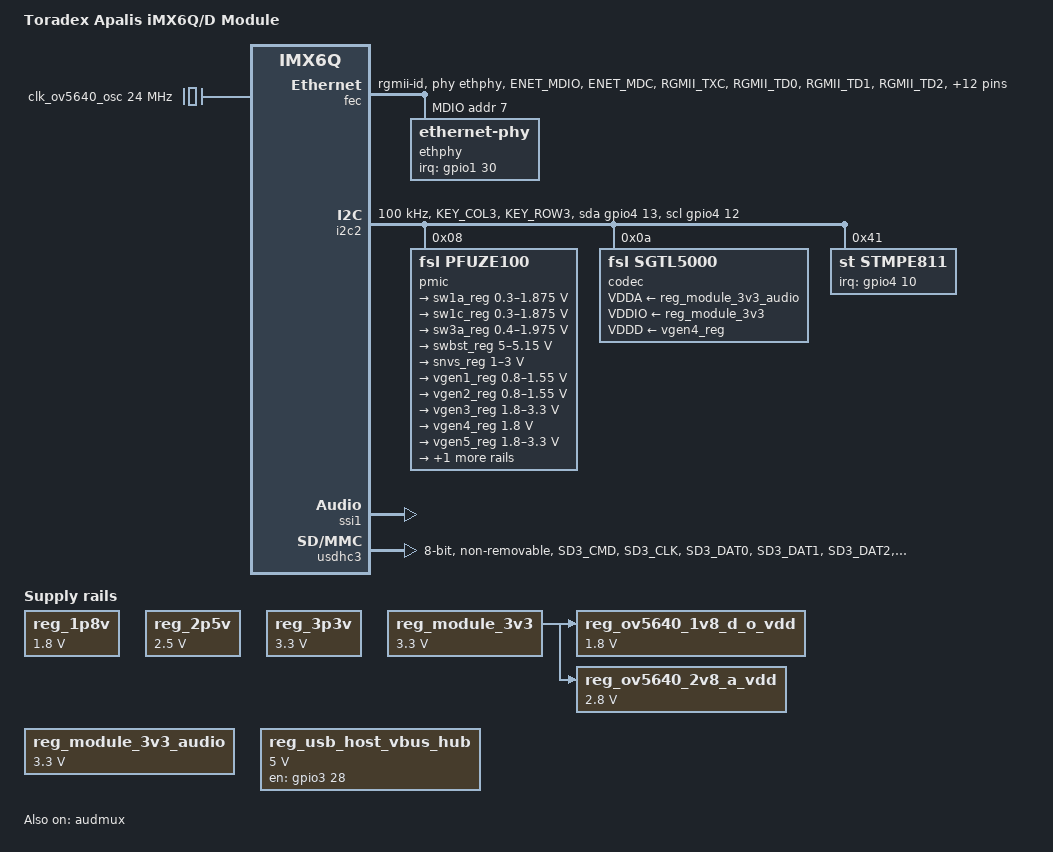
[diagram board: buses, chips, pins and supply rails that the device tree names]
/*
 * Copyright 2014-2017 Toradex AG
 * Copyright 2012 Freescale Semiconductor, Inc.
 * Copyright 2011 Linaro Ltd.
 *
 * This file is dual-licensed: you can use it either under the terms
 * of the GPL or the X11 license, at your option. Note that this dual
 * licensing only applies to this file, and not this project as a
 * whole.
 *
 *  a) This file is free software; you can redistribute it and/or
 *     modify it under the terms of the GNU General Public License
 *     version 2 as published by the Free Software Foundation.
 *
 *     This file is distributed in the hope that it will be useful,
 *     but WITHOUT ANY WARRANTY; without even the implied warranty of
 *     MERCHANTABILITY or FITNESS FOR A PARTICULAR PURPOSE.  See the
 *     GNU General Public License for more details.
 *
 * Or, alternatively,
 *
 *  b) Permission is hereby granted, free of charge, to any person
 *     obtaining a copy of this software and associated documentation
 *     files (the "Software"), to deal in the Software without
 *     restriction, including without limitation the rights to use,
 *     copy, modify, merge, publish, distribute, sublicense, and/or
 *     sell copies of the Software, and to permit persons to whom the
 *     Software is furnished to do so, subject to the following
 *     conditions:
 *
 *     The above copyright notice and this permission notice shall be
 *     included in all copies or substantial portions of the Software.
 *
 *     THE SOFTWARE IS PROVIDED "AS IS", WITHOUT WARRANTY OF ANY KIND,
 *     EXPRESS OR IMPLIED, INCLUDING BUT NOT LIMITED TO THE WARRANTIES
 *     OF MERCHANTABILITY, FITNESS FOR A PARTICULAR PURPOSE AND
 *     NONINFRINGEMENT. IN NO EVENT SHALL THE AUTHORS OR COPYRIGHT
 *     HOLDERS BE LIABLE FOR ANY CLAIM, DAMAGES OR OTHER LIABILITY,
 *     WHETHER IN AN ACTION OF CONTRACT, TORT OR OTHERWISE, ARISING
 *     FROM, OUT OF OR IN CONNECTION WITH THE SOFTWARE OR THE USE OR
 *     OTHER DEALINGS IN THE SOFTWARE.
 */

#include <dt-bindings/gpio/gpio.h>

/ {
	model = "Toradex Apalis iMX6Q/D Module";
	compatible = "toradex,apalis_imx6q", "fsl,imx6q";
	/* Will be filled by the bootloader */
	memory@10000000 {
		device_type = "memory";
		reg = <0x10000000 0>;
	};

	aliases {
		mxcfb0 = &mxcfb1;
		mxcfb1 = &mxcfb2;
		mxcfb2 = &mxcfb3;
		mxcfb3 = &mxcfb4;
	};

	backlight: backlight {
		compatible = "pwm-backlight";
		pinctrl-names = "default";
		pinctrl-0 = <&pinctrl_gpio_bl_on>;
		brightness-levels = <0 45 63 88 119 158 203 255>;
		default-brightness-level = <4>;
		enable-gpios = <&gpio3 13 GPIO_ACTIVE_HIGH>;
		power-supply = <&reg_module_3v3>;
		pwms = <&pwm4 0 6666667 PWM_POLARITY_INVERTED>;
		status = "disabled";
	};

	clk_ov5640_osc: clk_ov5640_osc_int {
		compatible = "fixed-clock";
		#clock-cells = <0>;
		clock-frequency = <24000000>;
	};

	/*
	 * HDMI_TX_DDC: I2C2_DDC_SDA/SCL on MXM3 205/207
	 */
	i2cddc: i2c@0 {
		compatible = "i2c-gpio";
		pinctrl-names = "default";
		pinctrl-0 = <&pinctrl_i2c_ddc>;
		gpios = <
			 &gpio3 16 (GPIO_ACTIVE_HIGH|GPIO_OPEN_DRAIN) /* sda */
			 &gpio2 30 (GPIO_ACTIVE_HIGH|GPIO_OPEN_DRAIN) /* scl */
			>;
		i2c-gpio,delay-us = <2>;	/* ~100 kHz */
		#address-cells = <1>;
		#size-cells = <0>;
		status = "disabled";

		hdmi_ddc: edid@50 {
			compatible = "fsl,imx6-hdmi-i2c";
			reg = <0x50>;
			status = "disabled";
		};
	};

	lcd: lcd@0 {
		compatible = "fsl,lcd";
		ipu_id = <0>;
		disp_id = <1>;
		default_ifmt = "RGB24";
		pinctrl-names = "default";
		pinctrl-0 = <&pinctrl_ipu1_lcdif>;
		status = "disabled";
	};

	mxcfb1: fb@0 {
		compatible = "fsl,mxc_sdc_fb";
		disp_dev = "ldb";
		interface_pix_fmt = "RGB666";
		default_bpp = <16>;
		int_clk = <0>;
		late_init = <0>;
		status = "disabled";
	};

	mxcfb2: fb@1 {
		compatible = "fsl,mxc_sdc_fb";
		disp_dev = "hdmi";
		interface_pix_fmt = "RGB24";
		mode_str ="1920x1080M@60";
		default_bpp = <16>;
		int_clk = <0>;
		late_init = <0>;
		status = "disabled";
	};

	mxcfb3: fb@2 {
		compatible = "fsl,mxc_sdc_fb";
		disp_dev = "lcd";
		interface_pix_fmt = "RGB24";
		mode_str ="CLAA-WVGA";
		default_bpp = <16>;
		int_clk = <0>;
		late_init = <0>;
		status = "disabled";
	};

	mxcfb4: fb@3 {
		compatible = "fsl,mxc_sdc_fb";
		disp_dev = "vdac";
		interface_pix_fmt = "RGB565";
		mode_str ="1024x768M@60";
		default_bpp = <16>;
		int_clk = <0>;
		late_init = <0>;
		status = "disabled";
	};

	reg_1p8v: regulator-1p8v {
		compatible = "regulator-fixed";
		regulator-name = "1P8V";
		regulator-min-microvolt = <1800000>;
		regulator-max-microvolt = <1800000>;
		regulator-always-on;
	};

	reg_2p5v: regulator-2p5v {
		compatible = "regulator-fixed";
		regulator-name = "2P5V";
		regulator-min-microvolt = <2500000>;
		regulator-max-microvolt = <2500000>;
		regulator-always-on;
	};

	reg_3p3v: regulator-3p3v {
		compatible = "regulator-fixed";
		regulator-name = "3P3V";
		regulator-min-microvolt = <3300000>;
		regulator-max-microvolt = <3300000>;
		regulator-always-on;
	};

	reg_module_3v3: regulator-module-3v3 {
		compatible = "regulator-fixed";
		regulator-name = "+V3.3";
		regulator-min-microvolt = <3300000>;
		regulator-max-microvolt = <3300000>;
		regulator-always-on;
	};

	reg_module_3v3_audio: regulator-module-3v3-audio {
		compatible = "regulator-fixed";
		regulator-name = "+V3.3_AUDIO";
		regulator-min-microvolt = <3300000>;
		regulator-max-microvolt = <3300000>;
		regulator-always-on;
	};

	reg_ov5640_1v8_d_o_vdd: regulator-ov5640-1v8-d-o-vdd {
		compatible = "regulator-fixed";
		regulator-name = "DOVDD/DVDD_1.8V";
		regulator-min-microvolt = <1800000>;
		regulator-max-microvolt = <1800000>;
		regulator-always-on;
		/* Note: The CSI module uses on-board 3.3V_SW supply */
		vin-supply = <&reg_module_3v3>;
	};

	reg_ov5640_2v8_a_vdd: regulator-ov5640-2v8-a-vdd {
		compatible = "regulator-fixed";
		regulator-name = "AVDD/AFVDD_2.8V";
		regulator-min-microvolt = <2800000>;
		regulator-max-microvolt = <2800000>;
		regulator-always-on;
		/* Note: The CSI module uses on-board 3.3V_SW supply */
		vin-supply = <&reg_module_3v3>;
	};

	reg_usb_otg_vbus: regulator-usb-otg-vbus {
		compatible = "regulator-fixed";
		pinctrl-names = "default";
		pinctrl-0 = <&pinctrl_regulator_usbotg_pwr>;
		regulator-name = "usb_otg_vbus";
		regulator-min-microvolt = <5000000>;
		regulator-max-microvolt = <5000000>;
		gpio = <&gpio3 22 GPIO_ACTIVE_HIGH>;
		enable-active-high;
		status = "disabled";
	};

	/* on module USB hub */
	reg_usb_host_vbus_hub: regulator-usb-host-vbus-hub {
		compatible = "regulator-fixed";
		pinctrl-names = "default";
		pinctrl-0 = <&pinctrl_regulator_usbhub_pwr>;
		regulator-name = "usb_host_vbus_hub";
		regulator-min-microvolt = <5000000>;
		regulator-max-microvolt = <5000000>;
		gpio = <&gpio3 28 GPIO_ACTIVE_HIGH>;
		startup-delay-us = <2000>;
		enable-active-high;
		status = "okay";
	};

	reg_usb_host_vbus: regulator-usb-host-vbus {
		compatible = "regulator-fixed";
		pinctrl-names = "default";
		pinctrl-0 = <&pinctrl_regulator_usbh_pwr>;
		regulator-name = "usb_host_vbus";
		regulator-min-microvolt = <5000000>;
		regulator-max-microvolt = <5000000>;
		gpio =  <&gpio1 0 GPIO_ACTIVE_HIGH>;
		enable-active-high;
		vin-supply = <&reg_usb_host_vbus_hub>;
		status = "disabled";
	};

	sound {
		compatible = "fsl,imx-audio-sgtl5000";
		model = "imx6q-apalis-sgtl5000";
		ssi-controller = <&ssi1>;
		audio-codec = <&codec>;
		audio-routing =
			"LINE_IN", "Line In Jack",
			"MIC_IN", "Mic Jack",
			"Mic Jack", "Mic Bias",
			"Headphone Jack", "HP_OUT";
		mux-int-port = <1>;
		mux-ext-port = <4>;
	};

	sound_hdmi: sound-hdmi {
		compatible = "fsl,imx6q-audio-hdmi",
			     "fsl,imx-audio-hdmi";
		model = "imx-audio-hdmi";
		hdmi-controller = <&hdmi_audio>;
		status = "disabled";
	};

	sound_spdif: sound-spdif {
		compatible = "fsl,imx-audio-spdif";
		model = "imx-spdif";
		spdif-controller = <&spdif>;
		spdif-in;
		spdif-out;
		status = "disabled";
	};

	v4l2_cap_0 {
		compatible = "fsl,imx6q-v4l2-capture";
		ipu_id = <0>;
		csi_id = <0>;
		mclk_source = <0>;
		status = "okay";
	};

	v4l2_cap_1 { // second parallel camera
		compatible = "fsl,imx6q-v4l2-capture";
		ipu_id = <1>;
		csi_id = <1>;
		mclk_source = <0>;
		status = "okay";
	};

	v4l2_cap_2 { // mipi-csi2 camera
		compatible = "fsl,imx6q-v4l2-capture";
		ipu_id = <0>;
		csi_id = <1>;
		mclk_source = <0>;
		status = "okay";
	};

	v4l2_out {
		compatible = "fsl,mxc_v4l2_output";
		status = "okay";
	};

	vdac: vdac@0 {
		compatible = "fsl,vdac";
		ipu_id = <1>;
		disp_id = <0>;
		default_ifmt = "RGB565";
		pinctrl-names = "default";
		pinctrl-0 = <&pinctrl_ipu2_vdac>;
		status = "disabled";
	};
};

&audmux {
	pinctrl-names = "default";
	pinctrl-0 = <&pinctrl_audmux>;
	status = "okay";
};

&can1 {
	pinctrl-names = "default", "sleep";
	pinctrl-0 = <&pinctrl_flexcan1_default>;
	pinctrl-1 = <&pinctrl_flexcan1_sleep>;
	status = "disabled";
};

&can2 {
	pinctrl-names = "default", "sleep";
	pinctrl-0 = <&pinctrl_flexcan2_default>;
	pinctrl-1 = <&pinctrl_flexcan2_sleep>;
	status = "disabled";
};

/* Apalis SPI1 */
&ecspi1 {
	cs-gpios = <&gpio5 25 GPIO_ACTIVE_HIGH>;
	pinctrl-names = "default";
	pinctrl-0 = <&pinctrl_ecspi1>;
	status = "disabled";
};

/* Apalis SPI2 */
&ecspi2 {
	cs-gpios = <&gpio2 26 GPIO_ACTIVE_HIGH>;
	pinctrl-names = "default";
	pinctrl-0 = <&pinctrl_ecspi2>;
	status = "disabled";
};

&gpio1 {
	gpio-line-names = "MXM3_84",
			  "MXM3_4",
			  "MXM3_15/GPIO7",
			  "MXM3_96",
			  "MXM3_37",
			  "",
			  "MXM3_17/GPIO8",
			  "MXM3_14",
			  "MXM3_12",
			  "MXM3_2",
			  "MXM3_184",
			  "MXM3_180",
			  "MXM3_178",
			  "MXM3_176",
			  "MXM3_188",
			  "MXM3_186",
			  "MXM3_160",
			  "MXM3_162",
			  "MXM3_150",
			  "MXM3_144",
			  "MXM3_154",
			  "MXM3_146",
			  "",
			  "",
			  "MXM3_72";
};

&gpio2 {
	gpio-line-names = "MXM3_148",
			  "MXM3_152",
			  "MXM3_156",
			  "MXM3_158",
			  "MXM3_1/GPIO1",
			  "MXM3_3/GPIO2",
			  "MXM3_5/GPIO3",
			  "MXM3_7/GPIO4",
			  "MXM3_95",
			  "MXM3_6",
			  "MXM3_8",
			  "MXM3_123",
			  "MXM3_126",
			  "MXM3_128",
			  "MXM3_130",
			  "MXM3_132",
			  "MXM3_253",
			  "MXM3_251",
			  "MXM3_283",
			  "MXM3_281",
			  "MXM3_279",
			  "MXM3_277",
			  "MXM3_243",
			  "MXM3_235",
			  "MXM3_231",
			  "MXM3_229",
			  "MXM3_233",
			  "MXM3_198",
			  "MXM3_275",
			  "MXM3_273",
			  "MXM3_207",
			  "MXM3_122";
};

&gpio3 {
	gpio-line-names = "MXM3_271",
			  "MXM3_269",
			  "MXM3_301",
			  "MXM3_299",
			  "MXM3_297",
			  "MXM3_295",
			  "MXM3_293",
			  "MXM3_291",
			  "MXM3_289",
			  "MXM3_287",
			  "MXM3_249",
			  "MXM3_247",
			  "MXM3_245",
			  "MXM3_286",
			  "MXM3_239",
			  "MXM3_35",
			  "MXM3_205",
			  "MXM3_203",
			  "MXM3_201",
			  "MXM3_116",
			  "MXM3_114",
			  "MXM3_262",
			  "MXM3_274",
			  "MXM3_124",
			  "MXM3_110",
			  "MXM3_120",
			  "MXM3_263",
			  "MXM3_265",
			  "",
			  "MXM3_135",
			  "MXM3_261",
			  "MXM3_259";
};

&gpio4 {
	gpio-line-names = "",
			  "",
			  "",
			  "",
			  "",
			  "MXM3_194",
			  "MXM3_136",
			  "MXM3_134",
			  "MXM3_140",
			  "MXM3_138",
			  "",
			  "MXM3_220",
			  "",
			  "",
			  "MXM3_18",
			  "MXM3_16",
			  "",
			  "",
			  "MXM3_214",
			  "MXM3_216",
			  "MXM3_164";
};

&gpio5 {
	gpio-line-names = "MXM3_159",
			  "",
			  "",
			  "",
			  "MXM3_257",
			  "",
			  "",
			  "",
			  "",
			  "",
			  "MXM3_200",
			  "MXM3_196",
			  "MXM3_204",
			  "MXM3_202",
			  "",
			  "",
			  "",
			  "",
			  "MXM3_191",
			  "MXM3_197",
			  "MXM3_77",
			  "MXM3_195",
			  "MXM3_221",
			  "MXM3_225",
			  "MXM3_223",
			  "MXM3_227",
			  "MXM3_209",
			  "MXM3_211",
			  "MXM3_118",
			  "MXM3_112",
			  "MXM3_187",
			  "MXM3_185";
};

&gpio6 {
	gpio-line-names = "MXM3_183",
			  "MXM3_181",
			  "MXM3_179",
			  "MXM3_177",
			  "MXM3_175",
			  "MXM3_173",
			  "MXM3_255",
			  "MXM3_83",
			  "MXM3_91",
			  "MXM3_13/GPIO6",
			  "MXM3_11/GPIO5",
			  "MXM3_79",
			  "",
			  "",
			  "MXM3_190",
			  "MXM3_193",
			  "MXM3_89";
};

&gpio7 {
	gpio-line-names = "",
			  "",
			  "",
			  "",
			  "",
			  "",
			  "",
			  "",
			  "",
			  "MXM3_99",
			  "MXM3_85",
			  "MXM3_217",
			  "MXM3_215";
};

&fec {
	pinctrl-names = "default";
	pinctrl-0 = <&pinctrl_enet>;
	phy-mode = "rgmii-id";
	phy-handle = <&ethphy>;
	phy-reset-duration = <10>;
	phy-reset-gpios = <&gpio1 25 GPIO_ACTIVE_LOW>;
	status = "okay";

	mdio {
		#address-cells = <1>;
		#size-cells = <0>;

		ethphy: ethernet-phy@7 {
			interrupt-parent = <&gpio1>;
			interrupts = <30 IRQ_TYPE_LEVEL_LOW>;
			reg = <7>;
		};
	};
};

&hdmi_cec {
	pinctrl-names = "default";
	pinctrl-0 = <&pinctrl_hdmi_cec>;
	status = "disabled";
};

&hdmi_core {
	ipu_id = <0>;
	disp_id = <0>;
	status = "disabled";
};

&hdmi_video {
	fsl,phy_reg_vlev = <0x0294>;
	fsl,phy_reg_cksymtx = <0x800d>;
	status = "disabled";
};

/* I2C1_SDA/SCL on MXM3 209/211 (e.g. RTC on carrier board) */
&i2c1 {
	clock-frequency = <100000>;
	pinctrl-names = "default", "gpio";
	pinctrl-0 = <&pinctrl_i2c1>;
	pinctrl-1 = <&pinctrl_i2c1_recovery>;
	scl-gpios = <&gpio5 27 (GPIO_ACTIVE_HIGH | GPIO_OPEN_DRAIN)>;
	sda-gpios = <&gpio5 26 (GPIO_ACTIVE_HIGH | GPIO_OPEN_DRAIN)>;
	status = "disabled";

	atmel_mxt_ts: atmel_mxt_ts@4a {
		compatible = "atmel,maxtouch";
		reg = <0x4a>;
		pinctrl-names = "default";
		pinctrl-0 = <&pinctrl_apalis_gpio5 &pinctrl_apalis_gpio6>;
		interrupt-parent = <&gpio6>;
		interrupts = <10 IRQ_TYPE_EDGE_FALLING>;
		reset-gpios = <&gpio6 9 GPIO_ACTIVE_HIGH>;
		status = "disabled";
	};

	fusion_f0710a: pcap@10 {
		/* TouchRevolution Fusion 7 and 10 multi-touch controller */
		compatible = "touchrevolution,fusion-f0710a";
		reg = <0x10>;
		gpios = <&gpio6 10 GPIO_ACTIVE_HIGH /* MXM3 11, Pen down interrupt */
			 &gpio6  9 GPIO_ACTIVE_HIGH /* MXM3 13, Reset */
			>;
	};
};

/*
 * PWR_I2C: power I2C to audio codec, PMIC, temperature sensor and
 * touch screen controller
 */
&i2c2 {
	clock-frequency = <100000>;
	pinctrl-names = "default", "gpio";
	pinctrl-0 = <&pinctrl_i2c2>;
	pinctrl-1 = <&pinctrl_i2c2_recovery>;
	scl-gpios = <&gpio4 12 (GPIO_ACTIVE_HIGH | GPIO_OPEN_DRAIN)>;
	sda-gpios = <&gpio4 13 (GPIO_ACTIVE_HIGH | GPIO_OPEN_DRAIN)>;
	status = "okay";

	pmic: pfuze100@8 {
		compatible = "fsl,pfuze100";
		reg = <0x08>;
		fsl,pmic-stby-poweroff;

		regulators {
			sw1a_reg: sw1ab {
				regulator-min-microvolt = <300000>;
				regulator-max-microvolt = <1875000>;
				regulator-boot-on;
				regulator-always-on;
				regulator-ramp-delay = <6250>;
			};

			sw1c_reg: sw1c {
				regulator-min-microvolt = <300000>;
				regulator-max-microvolt = <1875000>;
				regulator-boot-on;
				regulator-always-on;
				regulator-ramp-delay = <6250>;
			};

			sw3a_reg: sw3a {
				regulator-min-microvolt = <400000>;
				regulator-max-microvolt = <1975000>;
				regulator-boot-on;
				regulator-always-on;
			};

			swbst_reg: swbst {
				regulator-min-microvolt = <5000000>;
				regulator-max-microvolt = <5150000>;
				regulator-boot-on;
				regulator-always-on;
			};

			snvs_reg: vsnvs {
				regulator-min-microvolt = <1000000>;
				regulator-max-microvolt = <3000000>;
				regulator-boot-on;
				regulator-always-on;
			};

			vref_reg: vrefddr {
				regulator-boot-on;
				regulator-always-on;
			};

			vgen1_reg: vgen1 {
				regulator-min-microvolt = <800000>;
				regulator-max-microvolt = <1550000>;
				regulator-boot-on;
				regulator-always-on;
			};

			vgen2_reg: vgen2 {
				regulator-min-microvolt = <800000>;
				regulator-max-microvolt = <1550000>;
				regulator-boot-on;
				regulator-always-on;
			};

			vgen3_reg: vgen3 {
				regulator-min-microvolt = <1800000>;
				regulator-max-microvolt = <3300000>;
				regulator-boot-on;
				regulator-always-on;
			};

			vgen4_reg: vgen4 {
				regulator-min-microvolt = <1800000>;
				regulator-max-microvolt = <1800000>;
				regulator-boot-on;
				regulator-always-on;
			};

			vgen5_reg: vgen5 {
				regulator-min-microvolt = <1800000>;
				regulator-max-microvolt = <3300000>;
				regulator-boot-on;
				regulator-always-on;
			};

			vgen6_reg: vgen6 {
				regulator-min-microvolt = <1800000>;
				regulator-max-microvolt = <3300000>;
				regulator-boot-on;
				regulator-always-on;
			};
		};
	};

	codec: sgtl5000@a {
		compatible = "fsl,sgtl5000";
		reg = <0x0a>;
		clocks = <&clks IMX6QDL_CLK_CKO>;
		VDDA-supply = <&reg_module_3v3_audio>;
		VDDIO-supply = <&reg_module_3v3>;
		VDDD-supply = <&vgen4_reg>;
	};

	/* STMPE811 touch screen controller */
	stmpe811@41 {
		compatible = "st,stmpe811";
		pinctrl-names = "default";
		pinctrl-0 = <&pinctrl_touch_int>;
		reg = <0x41>;
		interrupts = <10 IRQ_TYPE_LEVEL_LOW>;
		interrupt-parent = <&gpio4>;
		interrupt-controller;
		id = <0>;
		blocks = <0x5>;
		irq-trigger = <0x1>;
		/* 3.25 MHz ADC clock speed */
		st,adc-freq = <1>;
		/* 12-bit ADC */
		st,mod-12b = <1>;
		/* internal ADC reference */
		st,ref-sel = <0>;
		/* ADC converstion time: 80 clocks */
		st,sample-time = <4>;

		stmpe_ts: stmpe_touchscreen {
			compatible = "st,stmpe-ts";
			/* 8 sample average control */
			st,ave-ctrl = <3>;
			/* 7 length fractional part in z */
			st,fraction-z = <7>;
			/*
			 * 50 mA typical 80 mA max touchscreen drivers
			 * current limit value
			 */
			st,i-drive = <1>;
			/* 1 ms panel driver settling time */
			st,settling = <3>;
			/* 5 ms touch detect interrupt delay */
			st,touch-det-delay = <5>;
			status = "disabled";
		};

		stmpe_adc {
			compatible = "st,stmpe-adc";
			/* forbid to use ADC channels 3-0 (touch) */
			st,norequest-mask = <0x0F>;
		};
	};
};

/*
 * I2C3_SDA/SCL (CAM) on MXM3 pin 201/203 (e.g. camera sensor on carrier
 * board)
 */
&i2c3 {
	clock-frequency = <100000>;
	pinctrl-names = "default", "gpio";
	pinctrl-0 = <&pinctrl_i2c3>;
	pinctrl-1 = <&pinctrl_i2c3_recovery>;
	scl-gpios = <&gpio3 17 (GPIO_ACTIVE_HIGH | GPIO_OPEN_DRAIN)>;
	sda-gpios = <&gpio3 18 (GPIO_ACTIVE_HIGH | GPIO_OPEN_DRAIN)>;
	status = "disabled";

	ov5640_csi_cam: camera@3c {
		compatible = "ovti,ov564x_mipi";
		pinctrl-names = "default";
		pinctrl-0 = <&pinctrl_cam_mclk>;
		reg = <0x3c>;
		/*
		 * By default use the internal on-cam clock source
		 * (Compatible with Toradex OV5640 v1.1b and later)
		 */
		clocks = <&clk_ov5640_osc>;
		clock-names = "csi_mclk";
		DOVDD-supply = <&reg_ov5640_1v8_d_o_vdd>;
		AVDD-supply = <&reg_ov5640_2v8_a_vdd>;
		DVDD-supply = <&reg_ov5640_1v8_d_o_vdd>;
		pwn-gpios = <&gpio2 5 GPIO_ACTIVE_HIGH>;
		rst-gpios = <&gpio2 4 GPIO_ACTIVE_LOW>;
		ipu_id = <0>;
		csi_id = <1>;
		mclk = <24000000>;
		mclk_source = <0>;
		status = "disabled";
	};
};

&ldb {
//	split-mode;
//	dual-mode;

	lvds-channel@0 {
		reg = <0>;
		fsl,data-mapping = "spwg"; /* "jeida"; */
		fsl,data-width = <24>;
		crtc = "ipu2-di1";
		primary;

		display-timings {
			native-mode = <&timing_xga>;
			/* LDB-AM-800600LTNQW-A0H */
			timing_svga: 800x600 {
				clock-frequency = <55000000>;
				hactive = <800>;
				vactive = <600>;
				hback-porch = <112>;
				hfront-porch = <32>;
				vback-porch = <3>;
				vfront-porch = <17>;
				hsync-len = <80>;
				vsync-len = <4>;
				hsync-active = <0>;
				vsync-active = <0>;
				pixelclk-active = <0>;
			};
			/* Standard XGA timing */
			timing_xga: 1024x768 {
				clock-frequency = <65000000>;
				hactive = <1024>;
				vactive = <768>;
				hback-porch = <160>;
				hfront-porch = <24>;
				vback-porch = <29>;
				vfront-porch = <3>;
				hsync-len = <136>;
				vsync-len = <6>;
				hsync-active = <0>;
				vsync-active = <0>;
				pixelclk-active = <0>;
			};
			timing_wxga: 1280x800 {
				clock-frequency = <68930000>;
				hactive = <1280>;
				vactive = <800>;
				hback-porch = <64>;
				hfront-porch = <64>;
				vback-porch = <5>;
				vfront-porch = <5>;
				hsync-len = <40>;
				vsync-len = <6>;
				hsync-active = <0>;
				vsync-active = <0>;
				pixelclk-active = <0>;
			};
			/* LTTD1280800101-L4WH-CT1, note that it needs
			   fsl,data-mapping = "spwg"; fsl,data-width = <24>; */
			timing_wxga1: 1280x800-1 {
				clock-frequency = <71100000>;
				hactive = <1280>;
				vactive = <800>;
				hback-porch = <60>;
				hfront-porch = <60>;
				vback-porch = <7>;
				vfront-porch = <7>;
				hsync-len = <40>;
				vsync-len = <9>;
				hsync-active = <0>;
				vsync-active = <0>;
				pixelclk-active = <0>;
			};
			timing_fullhd: 1920x1080 {
				clock-frequency = <138500000>;
				hactive = <1920>;
				vactive = <1080>;
				hback-porch = <80>;
				hfront-porch = <48>;
				vback-porch = <23>;
				vfront-porch = <3>;
				hsync-len = <32>;
				vsync-len = <5>;
				hsync-active = <0>;
				vsync-active = <0>;
				pixelclk-active = <0>;
			};
		};
	};

	lvds-channel@1 {
		reg = <1>;
		fsl,data-mapping = "spwg";
		fsl,data-width = <18>;
		crtc = "ipu1-di0";

		display-timings {
/*			native-mode = <&timing_svga_ch2>;*/
			/* LDB-AM-800600LTNQW-A0H */
			timing_svga_ch2: 800x600 {
				clock-frequency = <55000000>;
				hactive = <800>;
				vactive = <600>;
				hback-porch = <112>;
				hfront-porch = <32>;
				vback-porch = <3>;
				vfront-porch = <17>;
				hsync-len = <80>;
				vsync-len = <4>;
				hsync-active = <0>;
				vsync-active = <0>;
				pixelclk-active = <0>;
			};
		};
	};
};

&mipi_csi {
	csi_id = <1>;
	ipu_id = <0>;
	lanes = <2>;
	v_channel = <0>;

	status = "disabled";
};

&pcie {
	/* Gen2 does not work on Apalis iMX6 */
	fsl,max-link-speed = <1>;
};

&pwm1 {
	#pwm-cells = <3>;
	pinctrl-names = "default";
	pinctrl-0 = <&pinctrl_pwm1>;
	status = "disabled";
};

&pwm2 {
	#pwm-cells = <3>;
	pinctrl-names = "default";
	pinctrl-0 = <&pinctrl_pwm2>;
	status = "disabled";
};

&pwm3 {
	#pwm-cells = <3>;
	pinctrl-names = "default";
	pinctrl-0 = <&pinctrl_pwm3>;
	status = "disabled";
};

&pwm4 {
	#pwm-cells = <3>;
	pinctrl-names = "default";
	pinctrl-0 = <&pinctrl_pwm4>;
	status = "disabled";
};

&spdif {
	pinctrl-names = "default";
	pinctrl-0 = <&pinctrl_spdif>;
	status = "disabled";
};

&ssi1 {
	status = "okay";
};

&uart1 {
	pinctrl-names = "default";
	pinctrl-0 = <&pinctrl_uart1_dte &pinctrl_uart1_ctrl>;
	fsl,dte-mode;
	uart-has-rtscts;
	status = "disabled";
};

&uart2 {
	pinctrl-names = "default";
	pinctrl-0 = <&pinctrl_uart2_dte>;
	fsl,dte-mode;
	uart-has-rtscts;
	status = "disabled";
};

&uart4 {
	pinctrl-names = "default";
	pinctrl-0 = <&pinctrl_uart4_dte>;
	fsl,dte-mode;
	status = "disabled";
};

&uart5 {
	pinctrl-names = "default";
	pinctrl-0 = <&pinctrl_uart5_dte>;
	fsl,dte-mode;
	status = "disabled";
};

&usbotg {
	pinctrl-names = "default";
	pinctrl-0 = <&pinctrl_usbotg>;
	disable-over-current;
	status = "disabled";
};

/* MMC1 */
&usdhc1 {
	pinctrl-names = "default";
	pinctrl-0 = <&pinctrl_usdhc1_4bit &pinctrl_usdhc1_8bit &pinctrl_mmc_cd>;
	cd-gpios = <&gpio4 20 GPIO_ACTIVE_LOW>;
	vqmmc-supply = <&reg_module_3v3>;
	bus-width = <8>;
	disable-wp;
	no-1-8-v;
	status = "disabled";
};

/* SD1 */
&usdhc2 {
	pinctrl-names = "default";
	pinctrl-0 = <&pinctrl_usdhc2>;
	vqmmc-supply = <&reg_module_3v3>;
	bus-width = <4>;
	disable-wp;
	no-1-8-v;
	status = "disabled";
};

/* eMMC */
&usdhc3 {
	pinctrl-names = "default";
	pinctrl-0 = <&pinctrl_usdhc3>;
	vqmmc-supply = <&reg_module_3v3>;
	bus-width = <8>;
	no-1-8-v;
	non-removable;
	status = "okay";
};

&weim {
	status = "disabled";
};

&iomuxc {
	pinctrl_apalis_gpio1: gpio2io04grp {
		fsl,pins = <
			MX6QDL_PAD_NANDF_D4__GPIO2_IO04 0x130b0
		>;
	};

	pinctrl_apalis_gpio2: gpio2io05grp {
		fsl,pins = <
			MX6QDL_PAD_NANDF_D5__GPIO2_IO05 0x130b0
		>;
	};

	pinctrl_apalis_gpio3: gpio2io06grp {
		fsl,pins = <
			MX6QDL_PAD_NANDF_D6__GPIO2_IO06 0x130b0
		>;
	};

	pinctrl_apalis_gpio4: gpio2io07grp {
		fsl,pins = <
			MX6QDL_PAD_NANDF_D7__GPIO2_IO07 0x130b0
		>;
	};

	pinctrl_apalis_gpio5: gpio6io10grp {
		fsl,pins = <
			MX6QDL_PAD_NANDF_RB0__GPIO6_IO10 0x130b0
		>;
	};

	pinctrl_apalis_gpio6: gpio6io09grp {
		fsl,pins = <
			MX6QDL_PAD_NANDF_WP_B__GPIO6_IO09 0x130b0
		>;
	};

	pinctrl_apalis_gpio7: gpio1io02grp {
		fsl,pins = <
			MX6QDL_PAD_GPIO_2__GPIO1_IO02 0x130b0
		>;
	};

	pinctrl_apalis_gpio8: gpio1io06grp {
		fsl,pins = <
			MX6QDL_PAD_GPIO_6__GPIO1_IO06 0x130b0
		>;
	};

	pinctrl_audmux: audmuxgrp {
		fsl,pins = <
			MX6QDL_PAD_DISP0_DAT20__AUD4_TXC	0x130b0
			MX6QDL_PAD_DISP0_DAT21__AUD4_TXD	0x130b0
			MX6QDL_PAD_DISP0_DAT22__AUD4_TXFS	0x130b0
			MX6QDL_PAD_DISP0_DAT23__AUD4_RXD	0x130b0
			/* SGTL5000 sys_mclk */
			MX6QDL_PAD_GPIO_5__CCM_CLKO1		0x130b0
		>;
	};

	pinctrl_cam_mclk: cammclkgrp {
		fsl,pins = <
			/* CAM sys_mclk */
			MX6QDL_PAD_NANDF_CS2__CCM_CLKO2 0x00b0
		>;
	};

	pinctrl_ecspi1: ecspi1grp {
		fsl,pins = <
			MX6QDL_PAD_CSI0_DAT6__ECSPI1_MISO 0x100b1
			MX6QDL_PAD_CSI0_DAT5__ECSPI1_MOSI 0x100b1
			MX6QDL_PAD_CSI0_DAT4__ECSPI1_SCLK 0x100b1
			/* SPI1 cs */
			MX6QDL_PAD_CSI0_DAT7__GPIO5_IO25 0x000b1
		>;
	};

	pinctrl_ecspi2: ecspi2grp {
		fsl,pins = <
			MX6QDL_PAD_EIM_OE__ECSPI2_MISO 0x100b1
			MX6QDL_PAD_EIM_CS1__ECSPI2_MOSI 0x100b1
			MX6QDL_PAD_EIM_CS0__ECSPI2_SCLK 0x100b1
			/* SPI2 cs */
			MX6QDL_PAD_EIM_RW__GPIO2_IO26 0x000b1
		>;
	};

	pinctrl_enet: enetgrp {
		fsl,pins = <
			MX6QDL_PAD_ENET_MDIO__ENET_MDIO		0x100b0
			MX6QDL_PAD_ENET_MDC__ENET_MDC		0x100b0
			MX6QDL_PAD_RGMII_TXC__RGMII_TXC		0x10030
			MX6QDL_PAD_RGMII_TD0__RGMII_TD0		0x10030
			MX6QDL_PAD_RGMII_TD1__RGMII_TD1		0x10030
			MX6QDL_PAD_RGMII_TD2__RGMII_TD2		0x10030
			MX6QDL_PAD_RGMII_TD3__RGMII_TD3		0x10030
			MX6QDL_PAD_RGMII_TX_CTL__RGMII_TX_CTL	0x10030
			MX6QDL_PAD_ENET_REF_CLK__ENET_TX_CLK	0x100b0
			MX6QDL_PAD_RGMII_RXC__RGMII_RXC		0x1b030
			MX6QDL_PAD_RGMII_RD0__RGMII_RD0		0x1b030
			MX6QDL_PAD_RGMII_RD1__RGMII_RD1		0x1b030
			MX6QDL_PAD_RGMII_RD2__RGMII_RD2		0x1b030
			MX6QDL_PAD_RGMII_RD3__RGMII_RD3		0x1b030
			MX6QDL_PAD_RGMII_RX_CTL__RGMII_RX_CTL	0x1b030
			/* Ethernet PHY reset */
			MX6QDL_PAD_ENET_CRS_DV__GPIO1_IO25	0x000b0
			/* Ethernet PHY interrupt */
			MX6QDL_PAD_ENET_TXD0__GPIO1_IO30	0x000b1
		>;
	};

	pinctrl_flexcan1_default: flexcan1defgrp {
		fsl,pins = <
			MX6QDL_PAD_GPIO_7__FLEXCAN1_TX 0x1b0b0
			MX6QDL_PAD_GPIO_8__FLEXCAN1_RX 0x1b0b0
		>;
	};

	pinctrl_flexcan1_sleep: flexcan1slpgrp {
		fsl,pins = <
			MX6QDL_PAD_GPIO_7__GPIO1_IO07 0x0
			MX6QDL_PAD_GPIO_8__GPIO1_IO08 0x0
		>;
	};

	pinctrl_flexcan2_default: flexcan2defgrp {
		fsl,pins = <
			MX6QDL_PAD_KEY_COL4__FLEXCAN2_TX 0x1b0b0
			MX6QDL_PAD_KEY_ROW4__FLEXCAN2_RX 0x1b0b0
		>;
	};
	pinctrl_flexcan2_sleep: flexcan2slpgrp {
		fsl,pins = <
			MX6QDL_PAD_KEY_COL4__GPIO4_IO14 0x0
			MX6QDL_PAD_KEY_ROW4__GPIO4_IO15 0x0
		>;
	};

	pinctrl_gpio_bl_on: gpioblon {
		fsl,pins = <
			MX6QDL_PAD_EIM_DA13__GPIO3_IO13 0x1b0b0
		>;
	};

	pinctrl_gpio_keys: gpio1io04grp {
		fsl,pins = <
			/* Power button */
			MX6QDL_PAD_GPIO_4__GPIO1_IO04 0x1b0b0
		>;
	};

	pinctrl_hdmi_cec: hdmicecgrp {
		fsl,pins = <
			MX6QDL_PAD_KEY_ROW2__HDMI_TX_CEC_LINE 0x1f8b0
		>;
	};

	pinctrl_i2c_ddc: gpioi2cddcgrp {
		fsl,pins = <
			/* DDC bitbang */
			MX6QDL_PAD_EIM_EB2__GPIO2_IO30 0x1b0b0
			MX6QDL_PAD_EIM_D16__GPIO3_IO16 0x1b0b0
		>;
	};

	pinctrl_hdmi_ddc: hdmiddcgrp {
		fsl,pins = <
			MX6QDL_PAD_EIM_EB2__HDMI_TX_DDC_SCL 0x4001b8b1
			MX6QDL_PAD_EIM_D16__HDMI_TX_DDC_SDA 0x4001b8b1
		>;
	};

	pinctrl_i2c1: i2c1grp {
		fsl,pins = <
			MX6QDL_PAD_CSI0_DAT9__I2C1_SCL 0x4001b8b1
			MX6QDL_PAD_CSI0_DAT8__I2C1_SDA 0x4001b8b1
		>;
	};

	pinctrl_i2c1_recovery: i2c1recoverygrp {
		fsl,pins = <
			MX6QDL_PAD_CSI0_DAT9__GPIO5_IO27 0x4001b8b1
			MX6QDL_PAD_CSI0_DAT8__GPIO5_IO26 0x4001b8b1
		>;
	};

	pinctrl_i2c2: i2c2grp {
		fsl,pins = <
			MX6QDL_PAD_KEY_COL3__I2C2_SCL 0x4001b8b1
			MX6QDL_PAD_KEY_ROW3__I2C2_SDA 0x4001b8b1
		>;
	};

	pinctrl_i2c2_recovery: i2c2recoverygrp {
		fsl,pins = <
			MX6QDL_PAD_KEY_COL3__GPIO4_IO12 0x4001b8b1
			MX6QDL_PAD_KEY_ROW3__GPIO4_IO13 0x4001b8b1
		>;
	};

	pinctrl_i2c3: i2c3grp {
		fsl,pins = <
			MX6QDL_PAD_EIM_D17__I2C3_SCL 0x4001b8b1
			MX6QDL_PAD_EIM_D18__I2C3_SDA 0x4001b8b1
		>;
	};

	pinctrl_i2c3_recovery: i2c3recoverygrp {
		fsl,pins = <
			MX6QDL_PAD_EIM_D17__GPIO3_IO17 0x4001b8b1
			MX6QDL_PAD_EIM_D18__GPIO3_IO18 0x4001b8b1
		>;
	};

	pinctrl_ipu1_csi0: ipu1csi0grp { /* parallel camera */
		fsl,pins = <
			MX6QDL_PAD_CSI0_DAT12__IPU1_CSI0_DATA12  0xb0b1
			MX6QDL_PAD_CSI0_DAT13__IPU1_CSI0_DATA13  0xb0b1
			MX6QDL_PAD_CSI0_DAT14__IPU1_CSI0_DATA14  0xb0b1
			MX6QDL_PAD_CSI0_DAT15__IPU1_CSI0_DATA15  0xb0b1
			MX6QDL_PAD_CSI0_DAT16__IPU1_CSI0_DATA16  0xb0b1
			MX6QDL_PAD_CSI0_DAT17__IPU1_CSI0_DATA17  0xb0b1
			MX6QDL_PAD_CSI0_DAT18__IPU1_CSI0_DATA18  0xb0b1
			MX6QDL_PAD_CSI0_DAT19__IPU1_CSI0_DATA19  0xb0b1
			MX6QDL_PAD_CSI0_PIXCLK__IPU1_CSI0_PIXCLK 0xb0b1
			MX6QDL_PAD_CSI0_MCLK__IPU1_CSI0_HSYNC    0xb0b1
			MX6QDL_PAD_CSI0_VSYNC__IPU1_CSI0_VSYNC   0xb0b1
		>;
	};

	pinctrl_ipu1_lcdif: ipu1lcdifgrp {
		fsl,pins = <
			MX6QDL_PAD_EIM_A16__IPU1_DI1_DISP_CLK	0x61
			/* DE */
			MX6QDL_PAD_EIM_DA10__IPU1_DI1_PIN15	0x61
			/* HSync */
			MX6QDL_PAD_EIM_DA11__IPU1_DI1_PIN02	0x61
			/* VSync */
			MX6QDL_PAD_EIM_DA12__IPU1_DI1_PIN03	0x61
			MX6QDL_PAD_EIM_DA9__IPU1_DISP1_DATA00	0x61
			MX6QDL_PAD_EIM_DA8__IPU1_DISP1_DATA01	0x61
			MX6QDL_PAD_EIM_DA7__IPU1_DISP1_DATA02	0x61
			MX6QDL_PAD_EIM_DA6__IPU1_DISP1_DATA03	0x61
			MX6QDL_PAD_EIM_DA5__IPU1_DISP1_DATA04	0x61
			MX6QDL_PAD_EIM_DA4__IPU1_DISP1_DATA05	0x61
			MX6QDL_PAD_EIM_DA3__IPU1_DISP1_DATA06	0x61
			MX6QDL_PAD_EIM_DA2__IPU1_DISP1_DATA07	0x61
			MX6QDL_PAD_EIM_DA1__IPU1_DISP1_DATA08	0x61
			MX6QDL_PAD_EIM_DA0__IPU1_DISP1_DATA09	0x61
			MX6QDL_PAD_EIM_EB1__IPU1_DISP1_DATA10	0x61
			MX6QDL_PAD_EIM_EB0__IPU1_DISP1_DATA11	0x61
			MX6QDL_PAD_EIM_A17__IPU1_DISP1_DATA12	0x61
			MX6QDL_PAD_EIM_A18__IPU1_DISP1_DATA13	0x61
			MX6QDL_PAD_EIM_A19__IPU1_DISP1_DATA14	0x61
			MX6QDL_PAD_EIM_A20__IPU1_DISP1_DATA15	0x61
			MX6QDL_PAD_EIM_A21__IPU1_DISP1_DATA16	0x61
			MX6QDL_PAD_EIM_A22__IPU1_DISP1_DATA17	0x61
			MX6QDL_PAD_EIM_A23__IPU1_DISP1_DATA18	0x61
			MX6QDL_PAD_EIM_A24__IPU1_DISP1_DATA19	0x61
			MX6QDL_PAD_EIM_D31__IPU1_DISP1_DATA20	0x61
			MX6QDL_PAD_EIM_D30__IPU1_DISP1_DATA21	0x61
			MX6QDL_PAD_EIM_D26__IPU1_DISP1_DATA22	0x61
			MX6QDL_PAD_EIM_D27__IPU1_DISP1_DATA23	0x61
		>;
	};

	pinctrl_ipu2_vdac: ipu2vdacgrp {
		fsl,pins = <
			MX6QDL_PAD_DI0_DISP_CLK__IPU2_DI0_DISP_CLK 0xd1
			MX6QDL_PAD_DI0_PIN15__IPU2_DI0_PIN15       0xd1
			MX6QDL_PAD_DI0_PIN2__IPU2_DI0_PIN02        0xd1
			MX6QDL_PAD_DI0_PIN3__IPU2_DI0_PIN03        0xd1
			MX6QDL_PAD_DISP0_DAT0__IPU2_DISP0_DATA00   0xf9
			MX6QDL_PAD_DISP0_DAT1__IPU2_DISP0_DATA01   0xf9
			MX6QDL_PAD_DISP0_DAT2__IPU2_DISP0_DATA02   0xf9
			MX6QDL_PAD_DISP0_DAT3__IPU2_DISP0_DATA03   0xf9
			MX6QDL_PAD_DISP0_DAT4__IPU2_DISP0_DATA04   0xf9
			MX6QDL_PAD_DISP0_DAT5__IPU2_DISP0_DATA05   0xf9
			MX6QDL_PAD_DISP0_DAT6__IPU2_DISP0_DATA06   0xf9
			MX6QDL_PAD_DISP0_DAT7__IPU2_DISP0_DATA07   0xf9
			MX6QDL_PAD_DISP0_DAT8__IPU2_DISP0_DATA08   0xf9
			MX6QDL_PAD_DISP0_DAT9__IPU2_DISP0_DATA09   0xf9
			MX6QDL_PAD_DISP0_DAT10__IPU2_DISP0_DATA10  0xf9
			MX6QDL_PAD_DISP0_DAT11__IPU2_DISP0_DATA11  0xf9
			MX6QDL_PAD_DISP0_DAT12__IPU2_DISP0_DATA12  0xf9
			MX6QDL_PAD_DISP0_DAT13__IPU2_DISP0_DATA13  0xf9
			MX6QDL_PAD_DISP0_DAT14__IPU2_DISP0_DATA14  0xf9
			MX6QDL_PAD_DISP0_DAT15__IPU2_DISP0_DATA15  0xf9
		>;
	};

	pinctrl_mmc_cd: gpiommccdgrp {
		fsl,pins = <
			 /* MMC1 CD */
			MX6QDL_PAD_DI0_PIN4__GPIO4_IO20 0x000b0
		>;
	};

	pinctrl_pwm1: pwm1grp {
		fsl,pins = <
			MX6QDL_PAD_GPIO_9__PWM1_OUT 0x1b0b1
		>;
	};

	pinctrl_pwm2: pwm2grp {
		fsl,pins = <
			MX6QDL_PAD_GPIO_1__PWM2_OUT 0x1b0b1
		>;
	};

	pinctrl_pwm3: pwm3grp {
		fsl,pins = <
			MX6QDL_PAD_SD4_DAT1__PWM3_OUT 0x1b0b1
		>;
	};

	pinctrl_pwm4: pwm4grp {
		fsl,pins = <
			MX6QDL_PAD_SD4_DAT2__PWM4_OUT 0x1b0b1
		>;
	};

	pinctrl_regulator_usbh_pwr: gpioregusbhpwrgrp {
		fsl,pins = <
			/* USBH_EN */
			MX6QDL_PAD_GPIO_0__GPIO1_IO00 0x0f058
		>;
	};

	pinctrl_regulator_usbhub_pwr: gpioregusbhubpwrgrp {
		fsl,pins = <
			/* USBH_HUB_EN */
			MX6QDL_PAD_EIM_D28__GPIO3_IO28 0x0f058
		>;
	};

	pinctrl_regulator_usbotg_pwr: gpioregusbotgpwrgrp {
		fsl,pins = <
			/* USBO1 power en */
			MX6QDL_PAD_EIM_D22__GPIO3_IO22 0x0f058
		>;
	};

	pinctrl_reset_moci: gpioresetmocigrp {
		fsl,pins = <
			/* RESET_MOCI control */
			MX6QDL_PAD_ENET_TX_EN__GPIO1_IO28 0x0f058
		>;
	};

	pinctrl_sd_cd: gpiosdcdgrp {
		fsl,pins = <
			/* SD1 CD */
			MX6QDL_PAD_NANDF_CS1__GPIO6_IO14 0x000b0
		>;
	};

	pinctrl_spdif: spdifgrp {
		fsl,pins = <
			MX6QDL_PAD_GPIO_16__SPDIF_IN  0x1b0b0
			MX6QDL_PAD_GPIO_17__SPDIF_OUT 0x1b0b0
		>;
	};

	pinctrl_touch_int: gpiotouchintgrp {
		fsl,pins = <
			/* STMPE811 interrupt */
			MX6QDL_PAD_KEY_COL2__GPIO4_IO10 0x1b0b0
		>;
	};

	pinctrl_uart1_dce: uart1dcegrp {
		fsl,pins = <
			MX6QDL_PAD_CSI0_DAT10__UART1_TX_DATA 0x1b0b1
			MX6QDL_PAD_CSI0_DAT11__UART1_RX_DATA 0x1b0b1
		>;
	};

	/* DTE mode */
	pinctrl_uart1_dte: uart1dtegrp {
		fsl,pins = <
			MX6QDL_PAD_CSI0_DAT10__UART1_RX_DATA 0x1b0b1
			MX6QDL_PAD_CSI0_DAT11__UART1_TX_DATA 0x1b0b1
			MX6QDL_PAD_EIM_D19__UART1_RTS_B 0x1b0b1
			MX6QDL_PAD_EIM_D20__UART1_CTS_B 0x1b0b1
		>;
	};

	/* Additional DTR, DSR, DCD */
	pinctrl_uart1_ctrl: uart1ctrlgrp {
		fsl,pins = <
			MX6QDL_PAD_EIM_D23__UART1_DCD_B 0x1b0b0
			MX6QDL_PAD_EIM_D24__UART1_DTR_B 0x1b0b0
			MX6QDL_PAD_EIM_D25__UART1_DSR_B 0x1b0b0
		>;
	};

	pinctrl_uart2_dce: uart2dcegrp {
		fsl,pins = <
			MX6QDL_PAD_SD4_DAT4__UART2_RX_DATA	0x1b0b1
			MX6QDL_PAD_SD4_DAT7__UART2_TX_DATA	0x1b0b1
		>;
	};

	/* DTE mode */
	pinctrl_uart2_dte: uart2dtegrp {
		fsl,pins = <
			MX6QDL_PAD_SD4_DAT4__UART2_TX_DATA	0x1b0b1
			MX6QDL_PAD_SD4_DAT7__UART2_RX_DATA	0x1b0b1
			MX6QDL_PAD_SD4_DAT6__UART2_RTS_B	0x1b0b1
			MX6QDL_PAD_SD4_DAT5__UART2_CTS_B	0x1b0b1
		>;
	};

	pinctrl_uart4_dce: uart4dcegrp {
		fsl,pins = <
			MX6QDL_PAD_KEY_COL0__UART4_TX_DATA 0x1b0b1
			MX6QDL_PAD_KEY_ROW0__UART4_RX_DATA 0x1b0b1
		>;
	};

	/* DTE mode */
	pinctrl_uart4_dte: uart4dtegrp {
		fsl,pins = <
			MX6QDL_PAD_KEY_COL0__UART4_RX_DATA 0x1b0b1
			MX6QDL_PAD_KEY_ROW0__UART4_TX_DATA 0x1b0b1
		>;
	};

	pinctrl_uart5_dce: uart5dcegrp {
		fsl,pins = <
			MX6QDL_PAD_KEY_COL1__UART5_TX_DATA 0x1b0b1
			MX6QDL_PAD_KEY_ROW1__UART5_RX_DATA 0x1b0b1
		>;
	};

	/* DTE mode */
	pinctrl_uart5_dte: uart5dtegrp {
		fsl,pins = <
			MX6QDL_PAD_KEY_COL1__UART5_RX_DATA 0x1b0b1
			MX6QDL_PAD_KEY_ROW1__UART5_TX_DATA 0x1b0b1
		>;
	};

	pinctrl_usbotg: usbotggrp {
		fsl,pins = <
			MX6QDL_PAD_ENET_RX_ER__USB_OTG_ID 0x17059
		>;
	};

	pinctrl_usdhc1_4bit: usdhc1grp_4bit {
		fsl,pins = <
			MX6QDL_PAD_SD1_CMD__SD1_CMD    0x17071
			MX6QDL_PAD_SD1_CLK__SD1_CLK    0x10071
			MX6QDL_PAD_SD1_DAT0__SD1_DATA0 0x17071
			MX6QDL_PAD_SD1_DAT1__SD1_DATA1 0x17071
			MX6QDL_PAD_SD1_DAT2__SD1_DATA2 0x17071
			MX6QDL_PAD_SD1_DAT3__SD1_DATA3 0x17071
		>;
	};

	pinctrl_usdhc1_8bit: usdhc1grp_8bit {
		fsl,pins = <
			MX6QDL_PAD_NANDF_D0__SD1_DATA4 0x17071
			MX6QDL_PAD_NANDF_D1__SD1_DATA5 0x17071
			MX6QDL_PAD_NANDF_D2__SD1_DATA6 0x17071
			MX6QDL_PAD_NANDF_D3__SD1_DATA7 0x17071
		>;
	};

	pinctrl_usdhc2: usdhc2grp {
		fsl,pins = <
			MX6QDL_PAD_SD2_CMD__SD2_CMD    0x17071
			MX6QDL_PAD_SD2_CLK__SD2_CLK    0x10071
			MX6QDL_PAD_SD2_DAT0__SD2_DATA0 0x17071
			MX6QDL_PAD_SD2_DAT1__SD2_DATA1 0x17071
			MX6QDL_PAD_SD2_DAT2__SD2_DATA2 0x17071
			MX6QDL_PAD_SD2_DAT3__SD2_DATA3 0x17071
		>;
	};

	pinctrl_usdhc3: usdhc3grp {
		fsl,pins = <
			MX6QDL_PAD_SD3_CMD__SD3_CMD    0x17059
			MX6QDL_PAD_SD3_CLK__SD3_CLK    0x10059
			MX6QDL_PAD_SD3_DAT0__SD3_DATA0 0x17059
			MX6QDL_PAD_SD3_DAT1__SD3_DATA1 0x17059
			MX6QDL_PAD_SD3_DAT2__SD3_DATA2 0x17059
			MX6QDL_PAD_SD3_DAT3__SD3_DATA3 0x17059
			MX6QDL_PAD_SD3_DAT4__SD3_DATA4 0x17059
			MX6QDL_PAD_SD3_DAT5__SD3_DATA5 0x17059
			MX6QDL_PAD_SD3_DAT6__SD3_DATA6 0x17059
			MX6QDL_PAD_SD3_DAT7__SD3_DATA7 0x17059
			/* eMMC reset */
			MX6QDL_PAD_SD3_RST__SD3_RESET  0x17059
		>;
	};
};
